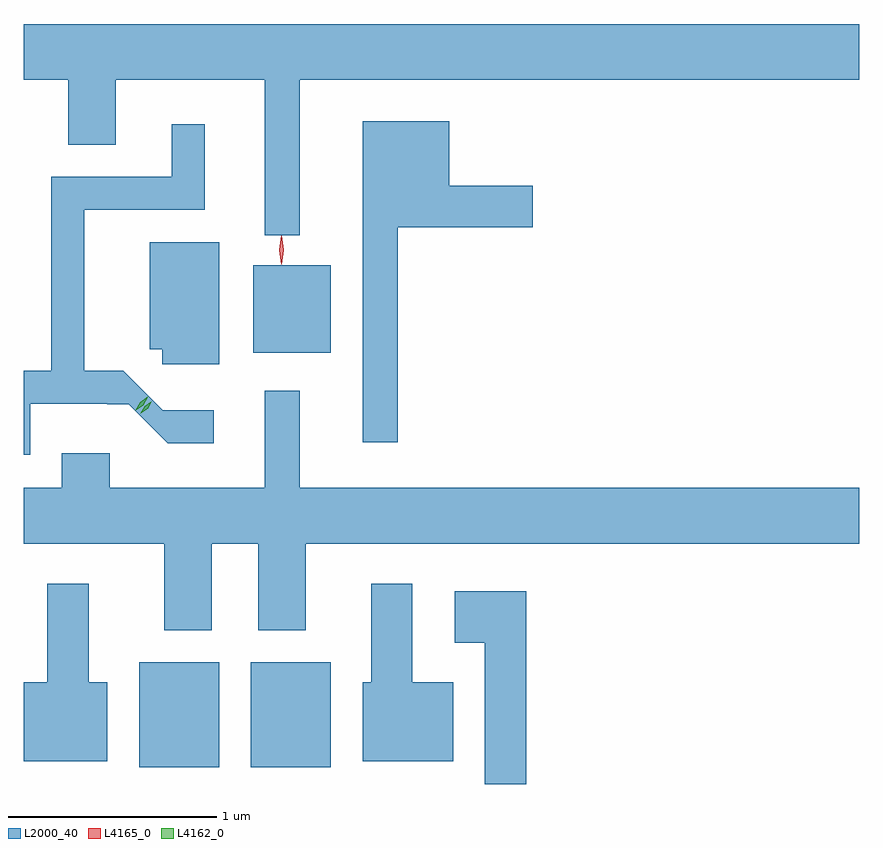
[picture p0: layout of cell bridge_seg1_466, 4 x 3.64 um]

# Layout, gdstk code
import gdstk
lib = gdstk.Library(unit=1e-6, precision=1e-09)
def R(c, l, rs):  # rectangles x0, y0, x1, y1
    for r in rs: c.add(gdstk.rectangle(r[:2], r[2:], *l))
def P(c, l, *ps):  # polygons
    for p in ps: c.add(gdstk.Polygon(p, *l))
L2000_40 = (2000, 40)
L4162_0 = (4162, 0)
L4165_0 = (4165, 0)

bridge_seg1_466 = lib.new_cell('bridge_seg1_466')
R(bridge_seg1_466, L2000_40, [(197.731,862.986,198.114,863.489), (198.266,862.986,198.649,863.489), (198.276,864.971,198.649,865.389)])
P(bridge_seg1_466, L2000_40, [(198.499,866.276),(201.178,866.276),(201.178,866.544),(197.178,866.544),(197.178,866.276),(197.391,866.276),(197.391,865.966),(197.619,865.966),(197.619,866.276),(198.331,866.276),(198.331,865.533),(198.499,865.533)],
  [(198.969,865.571),(199.614,865.571),(199.614,865.769),(199.214,865.769),(199.214,866.079),(198.801,866.079),(198.801,864.543),(198.969,864.543)],
  [(197.209,864.726),(197.578,864.726),(197.578,864.724),(197.68,864.724),(197.868,864.536),(198.088,864.536),(198.088,864.696),(197.843,864.696),(197.655,864.884),(197.469,864.884),(197.469,865.656),(198.044,865.656),(198.044,866.063),(197.886,866.063),(197.886,865.814),(197.311,865.814),(197.311,864.884),(197.178,864.884),(197.178,864.481),(197.209,864.481)],
  [(198.114,865.499),(197.781,865.499),(197.781,864.986),(197.841,864.986),(197.841,864.916),(198.114,864.916)],
  [(198.079,864.056),(198.301,864.056),(198.301,863.641),(198.529,863.641),(198.529,864.056),(201.178,864.056),(201.178,864.324),(198.499,864.324),(198.499,864.788),(198.331,864.788),(198.331,864.324),(197.589,864.324),(197.589,864.489),(197.361,864.489),(197.361,864.324),(197.178,864.324),(197.178,864.056),(197.851,864.056),(197.851,863.641),(198.079,863.641)],
  [(197.579,863.394),(197.489,863.394),(197.489,863.864),(197.291,863.864),(197.291,863.394),(197.178,863.394),(197.178,863.016),(197.579,863.016)],
  [(199.234,863.394),(199.039,863.394),(199.039,863.864),(198.841,863.864),(198.841,863.394),(198.801,863.394),(198.801,863.016),(199.234,863.016)],
  [(199.584,863.829),(199.241,863.829),(199.241,863.581),(199.386,863.581),(199.386,862.906),(199.584,862.906)])
P(bridge_seg1_466, L4162_0, [(197.736,864.678),(197.736,864.679),(197.757,864.715),(197.791,864.739),(197.792,864.739),(197.792,864.738),(197.771,864.702),(197.737,864.678)],
  [(197.712,864.692),(197.712,864.693),(197.736,864.734),(197.774,864.762),(197.775,864.762),(197.775,864.762),(197.751,864.72),(197.712,864.692)])
P(bridge_seg1_466, L4165_0, [(198.412,865.398),(198.412,865.399),(198.402,865.463),(198.412,865.527),(198.412,865.527),(198.413,865.527),(198.422,865.463),(198.413,865.399)],
  [(198.412,865.393),(198.412,865.394),(198.402,865.462),(198.412,865.53),(198.412,865.53),(198.413,865.53),(198.422,865.462),(198.413,865.394)])

lib.write_gds('bridge_seg1_466.gds')
